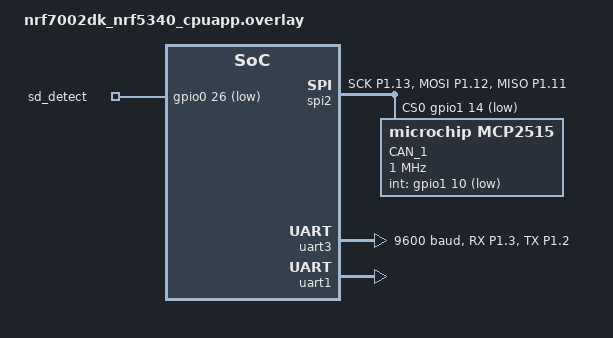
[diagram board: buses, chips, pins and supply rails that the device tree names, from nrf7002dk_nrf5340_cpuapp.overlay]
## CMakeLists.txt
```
# SPDX-License-Identifier: Apache-2.0

cmake_minimum_required(VERSION 3.20.0)

macro(app_set_runner_args)
  board_runner_args(dfu-util "--dfuse-modifiers=force:mass-erase")
  board_runner_args(pyocd "--erase")
  board_runner_args(nrfjprog "--erase")
endmacro()

find_package(Zephyr REQUIRED HINTS $ENV{ZEPHYR_BASE})
project(telemetry_system)

FILE(GLOB app_sources src/*.c)
target_sources(app PRIVATE ${app_sources})

target_include_directories(app PUBLIC ${ZEPHYR_BASE}/subsys/net/ip)
target_include_directories(app PRIVATE ${ZEPHYR_BASE}/subsys/fs/nvs)

target_sources(app PRIVATE src/main.c)

target_sources(app PRIVATE src/task/wifi_sta.c) 
target_sources(app PRIVATE src/task/udp_client.c) 
target_sources(app PRIVATE src/task/led.c) 
target_sources(app PRIVATE src/task/data_sender.c)
target_sources(app PRIVATE src/task/config_read.c)
target_sources(app PRIVATE src/task/can_controller.c)
target_sources(app PRIVATE src/task/gps_controller.c)
```

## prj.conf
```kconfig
#
# Copyright (c) 2022 Nordic Semiconductor ASA
#
# SPDX-License-Identifier: LicenseRef-Nordic-5-Clause
#
CONFIG_WIFI=y
CONFIG_WIFI_NRF700X=y

# WPA supplicant
CONFIG_WPA_SUPP=y

# Below configs need to be modified based on security
# CONFIG_STA_KEY_MGMT_NONE=y
CONFIG_STA_KEY_MGMT_WPA2=y
# CONFIG_STA_KEY_MGMT_WPA2_256=y
# CONFIG_STA_KEY_MGMT_WPA3=y

# System settings
CONFIG_NEWLIB_LIBC=y

# DC/DC Mode configuration
CONFIG_BOARD_ENABLE_DCDC_APP=n
CONFIG_BOARD_ENABLE_DCDC_HV=n
CONFIG_BOARD_ENABLE_DCDC_NET=n

# Networking
CONFIG_NETWORKING=y
CONFIG_POSIX_API=y
CONFIG_NET_LOG=y
CONFIG_NET_IPV4=y
CONFIG_NET_IPV6=n
CONFIG_NET_UDP=y
CONFIG_NET_TCP=y
CONFIG_NET_DHCPV4=y
CONFIG_NET_SOCKETS=y

CONFIG_NET_IF_UNICAST_IPV4_ADDR_COUNT=1
CONFIG_NET_MAX_CONTEXTS=10
CONFIG_NET_CONTEXT_SYNC_RECV=y

CONFIG_NET_PKT_RX_COUNT=16
CONFIG_NET_PKT_TX_COUNT=16

CONFIG_NET_MAX_CONN=10

# Below section is the primary contributor to SRAM and is currently
# tuned for performance, but this will be revisited in the future.
CONFIG_NET_BUF_RX_COUNT=80
CONFIG_NET_BUF_TX_COUNT=80
CONFIG_NET_CONTEXT_NET_PKT_POOL=y
CONFIG_NET_BUF_DATA_SIZE=128
CONFIG_HEAP_MEM_POOL_SIZE=153600
CONFIG_NET_TC_TX_COUNT=0


CONFIG_INIT_STACKS=y

CONFIG_NET_L2_ETHERNET=y

CONFIG_NET_CONFIG_SETTINGS=y

CONFIG_NET_SOCKETS_POLL_MAX=4


# Memories
CONFIG_MAIN_STACK_SIZE=16384
CONFIG_SYSTEM_WORKQUEUE_STACK_SIZE=4096
CONFIG_NET_TX_STACK_SIZE=4096
CONFIG_NET_RX_STACK_SIZE=4096

# Debugging
CONFIG_STACK_SENTINEL=y
CONFIG_DEBUG_COREDUMP=y
CONFIG_DEBUG_COREDUMP_BACKEND_LOGGING=y
CONFIG_DEBUG_COREDUMP_MEMORY_DUMP_MIN=y


# Kernel options
CONFIG_ENTROPY_GENERATOR=y

# Logging
CONFIG_LOG=y
CONFIG_LOG_BUFFER_SIZE=2048
CONFIG_POSIX_CLOCK=y

CONFIG_NET_MGMT_EVENT_STACK_SIZE=2048
CONFIG_PM=y


# Network address configuration
CONFIG_NET_CONFIG_NEED_IPV4=n 

#JSON
CONFIG_JSON_LIBRARY=y

#file system
CONFIG_DISK_ACCESS=y
CONFIG_FILE_SYSTEM=y
CONFIG_FAT_FILESYSTEM_ELM=y

# SD
CONFIG_SDHC=y
CONFIG_SPI_SDHC=y

#SPI
CONFIG_SPI=y

#UART
CONFIG_SERIAL=y
CONFIG_UART_INTERRUPT_DRIVEN=y

#CAN
CONFIG_CAN=y
CONFIG_CAN_INIT_PRIORITY=80

#NVS
CONFIG_FLASH=y
CONFIG_FLASH_PAGE_LAYOUT=y
CONFIG_NVS=y
CONFIG_NVS_LOG_LEVEL_DBG=y
CONFIG_MPU_ALLOW_FLASH_WRITE=y
```

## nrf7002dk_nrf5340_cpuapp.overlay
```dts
// To get started, press Ctrl+Space to bring up the completion menu and view the available nodes.

// You can also use the buttons in the sidebar to perform actions on nodes.
// Actions currently available include:

// * Enabling / disabling the node
// * Adding the bus to a bus
// * Removing the node
// * Connecting ADC channels

// For more help, browse the DeviceTree documentation at https://docs.zephyrproject.org/latest/guides/dts/index.html
// You can also visit the nRF DeviceTree extension documentation at https://nrfconnect.github.io/vscode-nrf-connect/devicetree/nrfdevicetree.html


&spi2 {
    status = "okay";
    cs-gpios = <&gpio1 14 GPIO_ACTIVE_LOW>;
    pinctrl-0 = <&spi2_default>;
    pinctrl-names = "default";

    canbus:mcp2515@0 {
		compatible = "microchip,mcp2515";
		spi-max-frequency = <1000000>;
		int-gpios = <&gpio1 10 (GPIO_ACTIVE_LOW)>; 
		status = "okay";
		label = "CAN_1";
		reg = <0x0>;
		osc-freq = <16000000>;
		bus-speed = <500000>;
		sjw = <1>;
		prop-seg = <2>;
		phase-seg1 = <7>;
		phase-seg2 = <6>;
		#address-cells = <1>;
		#size-cells = <0>;
	};
};

&uart3 {
    status = "okay";
    current-speed = <9600>;
    pinctrl-0 = <&uart3_default>;
    pinctrl-names = "default";
};


&pinctrl {

    uart3_default: uart3_default {
        group1 {
            psels = <NRF_PSEL(UART_RX, 1, 3)>, <NRF_PSEL(UART_TX, 1, 2)>;
        };
    };

    spi2_default: spi2_default {
        group1 {
            psels = <NRF_PSEL(SPIM_SCK, 1, 13)>,
                    <NRF_PSEL(SPIM_MOSI, 1, 12)>,
                    <NRF_PSEL(SPIM_MISO, 1, 11)>;
        };
    };
};

/ {
    buttons {
        sd_detect: sd_detect {
            gpios = <&gpio0 26 (GPIO_ACTIVE_LOW | GPIO_PULL_UP)>;
        };
    };

    chosen {
		zephyr,canbus = &canbus;
		zephyr,shell-uart-gps = &uart3;
        zephyr,shell-uart-config = &uart1;
	};
};
/delete-node/ &{/pin-controller/i2c1_default/group1/};
/delete-node/ &{/pin-controller/i2c1_sleep/group1/};

&nrf_radio_coex {
    /delete-property/ btrf-switch-gpios;
};

&i2c1 {
    status = "disabled";
};

&uart1 {
    status = "okay";
};

&uart1_default {
    group1 {
        psels = <NRF_PSEL(UART_TX, 0, 27)>;
    };
};

&gpio_fwd {
    uart {
        gpios = <&gpio1 0 0>, <&gpio1 5 0>, <&gpio1 4 0>;
    };
};

&gpio_fwd {
    uart {
        gpios = <&gpio1 5 0>, <&gpio1 4 0>;
    };
};

&uart1_default {
    group2 {
        psels = <NRF_PSEL(UART_RX, 1, 15)>;
    };
};
/delete-node/ &{/pin-controller/uart1_sleep/group1/};
/delete-node/ &{/pin-controller/pwm0_default/group1/};
/delete-node/ &{/pin-controller/pwm0_sleep/group1/};
```

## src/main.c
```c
/*! --------------------------------------------------------------------
 *	Telemetry System	-	@file main.c
 *----------------------------------------------------------------------
 * HES-SO Valais Wallis 
 * Systems Engineering
 * Infotronics
 * ---------------------------------------------------------------------
 * @author Sylvestre van Kappel
 * @date 02.08.2023
 * ---------------------------------------------------------------------
 * @brief Main of Telemetry system. Starts all tasks of the program
 * ---------------------------------------------------------------------
 * Telemetry system for the Valais Wallis Racing Team.
 * This file contains code for the onboard device of the telemetry
 * system. The system receives the data from the sensors on the CAN bus 
 * and the data from the GPS on a UART port. An SD Card contains a 
 * configuration file with all the system parameters. The measurements 
 * are sent via Wi-Fi to a computer on the base station. The measurements 
 * are also saved in a CSV file on the SD card. 
 *--------------------------------------------------------------------*/


//includes
#include <zephyr/kernel.h>
#include <nrfx_clock.h>

// include all tasks files
#include "task/wifi_sta.h"
#include "task/udp_client.h"
#include "task/led.h"
#include "task/data_sender.h"
//#include "task/data_logger.h"
#include "task/memory_management.h"
#include "task/config_read.h"
//#include "task/button_manager.h"
#include "task/can_controller.h"
#include "task/gps_controller.h"


//message heap for udp queue
K_HEAP_DEFINE(messageHeap,32768);

//udp queue
K_QUEUE_DEFINE(udpQueue);


//--------------------------------------------------------------------------
//			main
int main(void)
{
	Task_Led_Init();				//start led controller Thread
	//Task_Button_Manager_Init();		//start button manager

	int ret = read_config();		//read configuration file

	if(ret == 0)			//configuration file ok
	{
		Task_Wifi_Sta_Init();			//start wifi stationning Thread
		
		Task_UDP_Client_Init();			//start udp client Thread

		Task_GPS_Controller_Init();		//start gps controller thread

		Task_Data_Sender_Init();		// start data sender

		Task_CAN_Controller_Init();		//start can controller thread

		/*
		k_sleep(K_SECONDS(7));
		if(configFile.RecordOnStart)                            //if record autostart is selected
        	data_Logger_button_handler_start();
		*/
	}

	k_sleep( K_FOREVER );
	return 0;
}
```
